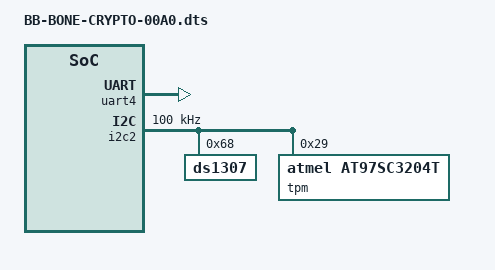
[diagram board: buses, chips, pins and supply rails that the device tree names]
/*
 * Copyright (C) 2014 Cryptotronix
 *
 * Cape support for the CryptoCape
 *
 * This program is free software; you can redistribute it and/or modify
 * it under the terms of the GNU General Public License version 2 as
 * published by the Free Software Foundation.
 */
/dts-v1/;
/plugin/;

#include <dt-bindings/board/am335x-bbw-bbb-base.h>
#include <dt-bindings/pinctrl/am33xx.h>

/ {
	/*
	 * Helper to show loaded overlays under: /proc/device-tree/chosen/overlays/
	 */
	fragment@0 {
		target-path="/";
		__overlay__ {

			chosen {
				overlays {
					BB-BONE-CRYPTO-00A0 = __TIMESTAMP__;
				};
			};
		};
	};

	/*
	 * Free up the pins used by the cape from the pinmux helpers.
	 */
	fragment@1 {
		target = <&ocp>;
		__overlay__ {
			P9_23_pinmux { status = "disabled"; };	/* P9_23: gpio1_17 FAST | OUTPUT | PULLUP | MODE7 */
			P8_11_pinmux { status = "disabled"; };	/* P8_11: gpio1_13 FAST | INPUT | PULLDOWN | MODE7 */

			P9_11_pinmux { status = "disabled"; };	/* P9_11: gpmc_wait0.uart4_rxd_mux2 */
			P9_13_pinmux { status = "disabled"; };	/* P9_13: gpmc_wpn.uart4_txd_mux2 */
		};
	};

	fragment@2 {
		target = <&am33xx_pinmux>;
		__overlay__ {
			cryptocape_pins: pinmux_cryptocape_pins {
				pinctrl-single,pins = <
					0x044 0x17	/* P9_23: gpio1_17 FAST | OUTPUT | PULLUP | MODE7 */
					0x034 0x2F	/* P8_11: gpio1_13 FAST | INPUT | PULLDOWN | MODE7 */
				>;
			};

			bb_uart4_pins: pinmux_bb_uart4_pins {
				pinctrl-single,pins = <
					BONE_P9_11 (PIN_INPUT_PULLUP | MUX_MODE6)	/* P9_11: gpmc_wait0.uart4_rxd_mux2 */
					BONE_P9_13 (PIN_OUTPUT_PULLDOWN | MUX_MODE6)	/* P9_13: gpmc_wpn.uart4_txd_mux2 */
				>;
			};
		};
	};

	fragment@3 {
		target = <&uart4>;
		__overlay__ {
			status = "okay";
			pinctrl-names = "default";
			pinctrl-0 = <&bb_uart4_pins>;
		};
	};

	fragment@4 {
		target = <&i2c2>;
		__overlay__ {

			status = "okay";

			/* this is the configuration part */
			clock-frequency = <100000>;

			#address-cells = <1>;
			#size-cells = <0>;

			/* Real Time Clock */
			ds1307@68 {
				compatible = "ds1307";
				reg = <0x68>;
			};

			tpm@29 {
				compatible = "atmel,at97sc3204t";
				reg = <0x29>;
			};
		};
	};
};
